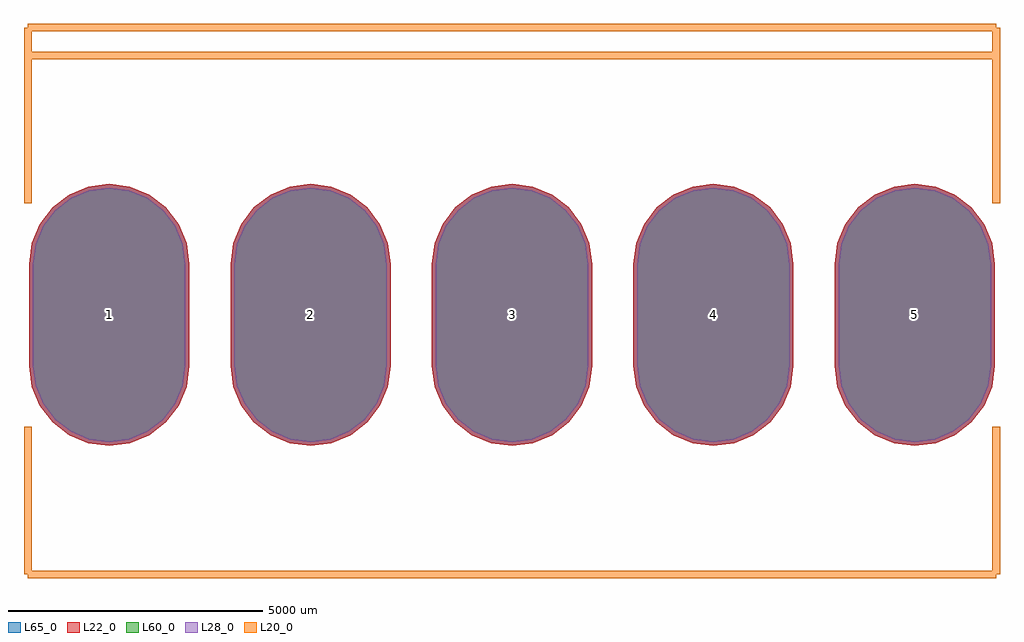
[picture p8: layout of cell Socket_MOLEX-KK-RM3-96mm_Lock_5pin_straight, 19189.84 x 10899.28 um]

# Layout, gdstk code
import gdstk
lib = gdstk.Library(unit=1e-6, precision=1e-09)
def P(c, l, *ps):  # polygons
    for p in ps: c.add(gdstk.Polygon(p, *l))
L20_0 = (20, 0)
L22_0 = (22, 0)
L28_0 = (28, 0)
L60_0 = (60, 0)
L65_0 = (65, 0)

socket_molex_kk_rm3_96mm = lib.new_cell('Socket_MOLEX-KK-RM3-96mm_Lock_5pin_straight')
P(socket_molex_kk_rm3_96mm, L22_0, [(-7919.72,-2575.63),(-7512.114,-2521.968),(-7132.285,-2364.637),(-6806.119,-2114.361),(-6555.843,-1788.195),(-6398.512,-1408.366),(-6344.85,-1000.76),(-6344.85,1000.76),(-6398.512,1408.366),(-6555.843,1788.195),(-6806.119,2114.361),(-7132.285,2364.637),(-7512.114,2521.968),(-7919.72,2575.63),(-8327.326,2521.968),(-8707.155,2364.637),(-9033.321,2114.361),(-9283.597,1788.195),(-9440.928,1408.366),(-9494.59,1000.76),(-9494.59,-1000.76),(-9440.928,-1408.366),(-9283.597,-1788.195),(-9033.321,-2114.361),(-8707.155,-2364.637),(-8327.326,-2521.968)],
  [(7919.72,-2575.63),(8327.326,-2521.968),(8707.155,-2364.637),(9033.321,-2114.361),(9283.597,-1788.195),(9440.928,-1408.366),(9494.59,-1000.76),(9494.59,1000.76),(9440.928,1408.366),(9283.597,1788.195),(9033.321,2114.361),(8707.155,2364.637),(8327.326,2521.968),(7919.72,2575.63),(7512.114,2521.968),(7132.285,2364.637),(6806.119,2114.361),(6555.843,1788.195),(6398.512,1408.366),(6344.85,1000.76),(6344.85,-1000.76),(6398.512,-1408.366),(6555.843,-1788.195),(6806.119,-2114.361),(7132.285,-2364.637),(7512.114,-2521.968)],
  [(3959.86,-2575.63),(4367.466,-2521.968),(4747.295,-2364.637),(5073.461,-2114.361),(5323.737,-1788.195),(5481.068,-1408.366),(5534.73,-1000.76),(5534.73,1000.76),(5481.068,1408.366),(5323.737,1788.195),(5073.461,2114.361),(4747.295,2364.637),(4367.466,2521.968),(3959.86,2575.63),(3552.254,2521.968),(3172.425,2364.637),(2846.259,2114.361),(2595.983,1788.195),(2438.652,1408.366),(2384.99,1000.76),(2384.99,-1000.76),(2438.652,-1408.366),(2595.983,-1788.195),(2846.259,-2114.361),(3172.425,-2364.637),(3552.254,-2521.968)],
  [(0,-2575.63),(407.606,-2521.968),(787.435,-2364.637),(1113.601,-2114.361),(1363.877,-1788.195),(1521.208,-1408.366),(1574.87,-1000.76),(1574.87,1000.76),(1521.208,1408.366),(1363.877,1788.195),(1113.601,2114.361),(787.435,2364.637),(407.606,2521.968),(0,2575.63),(-407.606,2521.968),(-787.435,2364.637),(-1113.601,2114.361),(-1363.877,1788.195),(-1521.208,1408.366),(-1574.87,1000.76),(-1574.87,-1000.76),(-1521.208,-1408.366),(-1363.877,-1788.195),(-1113.601,-2114.361),(-787.435,-2364.637),(-407.606,-2521.968)],
  [(-3959.86,-2575.63),(-3552.254,-2521.968),(-3172.425,-2364.637),(-2846.259,-2114.361),(-2595.983,-1788.195),(-2438.652,-1408.366),(-2384.99,-1000.76),(-2384.99,1000.76),(-2438.652,1408.366),(-2595.983,1788.195),(-2846.259,2114.361),(-3172.425,2364.637),(-3552.254,2521.968),(-3959.86,2575.63),(-4367.466,2521.968),(-4747.295,2364.637),(-5073.461,2114.361),(-5323.737,1788.195),(-5481.068,1408.366),(-5534.73,1000.76),(-5534.73,-1000.76),(-5481.068,-1408.366),(-5323.737,-1788.195),(-5073.461,-2114.361),(-4747.295,-2364.637),(-4367.466,-2521.968)])
P(socket_molex_kk_rm3_96mm, L28_0, [(-7919.72,-2500.63),(-7531.525,-2449.523),(-7169.785,-2299.686),(-6859.152,-2061.328),(-6620.794,-1750.695),(-6470.957,-1388.955),(-6419.85,-1000.76),(-6419.85,1000.76),(-6470.957,1388.955),(-6620.794,1750.695),(-6859.152,2061.328),(-7169.785,2299.686),(-7531.525,2449.523),(-7919.72,2500.63),(-8307.915,2449.523),(-8669.655,2299.686),(-8980.288,2061.328),(-9218.646,1750.695),(-9368.483,1388.955),(-9419.59,1000.76),(-9419.59,-1000.76),(-9368.483,-1388.955),(-9218.646,-1750.695),(-8980.288,-2061.328),(-8669.655,-2299.686),(-8307.915,-2449.523)],
  [(7919.72,-2500.63),(8307.915,-2449.523),(8669.655,-2299.686),(8980.288,-2061.328),(9218.646,-1750.695),(9368.483,-1388.955),(9419.59,-1000.76),(9419.59,1000.76),(9368.483,1388.955),(9218.646,1750.695),(8980.288,2061.328),(8669.655,2299.686),(8307.915,2449.523),(7919.72,2500.63),(7531.525,2449.523),(7169.785,2299.686),(6859.152,2061.328),(6620.794,1750.695),(6470.957,1388.955),(6419.85,1000.76),(6419.85,-1000.76),(6470.957,-1388.955),(6620.794,-1750.695),(6859.152,-2061.328),(7169.785,-2299.686),(7531.525,-2449.523)],
  [(3959.86,-2500.63),(4348.055,-2449.523),(4709.795,-2299.686),(5020.428,-2061.328),(5258.786,-1750.695),(5408.623,-1388.955),(5459.73,-1000.76),(5459.73,1000.76),(5408.623,1388.955),(5258.786,1750.695),(5020.428,2061.328),(4709.795,2299.686),(4348.055,2449.523),(3959.86,2500.63),(3571.665,2449.523),(3209.925,2299.686),(2899.292,2061.328),(2660.934,1750.695),(2511.097,1388.955),(2459.99,1000.76),(2459.99,-1000.76),(2511.097,-1388.955),(2660.934,-1750.695),(2899.292,-2061.328),(3209.925,-2299.686),(3571.665,-2449.523)],
  [(0,-2500.63),(388.195,-2449.523),(749.935,-2299.686),(1060.568,-2061.328),(1298.926,-1750.695),(1448.763,-1388.955),(1499.87,-1000.76),(1499.87,1000.76),(1448.763,1388.955),(1298.926,1750.695),(1060.568,2061.328),(749.935,2299.686),(388.195,2449.523),(0,2500.63),(-388.195,2449.523),(-749.935,2299.686),(-1060.568,2061.328),(-1298.926,1750.695),(-1448.763,1388.955),(-1499.87,1000.76),(-1499.87,-1000.76),(-1448.763,-1388.955),(-1298.926,-1750.695),(-1060.568,-2061.328),(-749.935,-2299.686),(-388.195,-2449.523)],
  [(-3959.86,-2500.63),(-3571.665,-2449.523),(-3209.925,-2299.686),(-2899.292,-2061.328),(-2660.934,-1750.695),(-2511.097,-1388.955),(-2459.99,-1000.76),(-2459.99,1000.76),(-2511.097,1388.955),(-2660.934,1750.695),(-2899.292,2061.328),(-3209.925,2299.686),(-3571.665,2449.523),(-3959.86,2500.63),(-4348.055,2449.523),(-4709.795,2299.686),(-5020.428,2061.328),(-5258.786,1750.695),(-5408.623,1388.955),(-5459.73,1000.76),(-5459.73,-1000.76),(-5408.623,-1388.955),(-5258.786,-1750.695),(-5020.428,-2061.328),(-4709.795,-2299.686),(-4348.055,-2449.523)])
P(socket_molex_kk_rm3_96mm, L60_0, [(-7919.72,-2500.63),(-7531.525,-2449.523),(-7169.785,-2299.686),(-6859.152,-2061.328),(-6620.794,-1750.695),(-6470.957,-1388.955),(-6419.85,-1000.76),(-6419.85,1000.76),(-6470.957,1388.955),(-6620.794,1750.695),(-6859.152,2061.328),(-7169.785,2299.686),(-7531.525,2449.523),(-7919.72,2500.63),(-8307.915,2449.523),(-8669.655,2299.686),(-8980.288,2061.328),(-9218.646,1750.695),(-9368.483,1388.955),(-9419.59,1000.76),(-9419.59,-1000.76),(-9368.483,-1388.955),(-9218.646,-1750.695),(-8980.288,-2061.328),(-8669.655,-2299.686),(-8307.915,-2449.523)],
  [(7919.72,-2500.63),(8307.915,-2449.523),(8669.655,-2299.686),(8980.288,-2061.328),(9218.646,-1750.695),(9368.483,-1388.955),(9419.59,-1000.76),(9419.59,1000.76),(9368.483,1388.955),(9218.646,1750.695),(8980.288,2061.328),(8669.655,2299.686),(8307.915,2449.523),(7919.72,2500.63),(7531.525,2449.523),(7169.785,2299.686),(6859.152,2061.328),(6620.794,1750.695),(6470.957,1388.955),(6419.85,1000.76),(6419.85,-1000.76),(6470.957,-1388.955),(6620.794,-1750.695),(6859.152,-2061.328),(7169.785,-2299.686),(7531.525,-2449.523)],
  [(3959.86,-2500.63),(4348.055,-2449.523),(4709.795,-2299.686),(5020.428,-2061.328),(5258.786,-1750.695),(5408.623,-1388.955),(5459.73,-1000.76),(5459.73,1000.76),(5408.623,1388.955),(5258.786,1750.695),(5020.428,2061.328),(4709.795,2299.686),(4348.055,2449.523),(3959.86,2500.63),(3571.665,2449.523),(3209.925,2299.686),(2899.292,2061.328),(2660.934,1750.695),(2511.097,1388.955),(2459.99,1000.76),(2459.99,-1000.76),(2511.097,-1388.955),(2660.934,-1750.695),(2899.292,-2061.328),(3209.925,-2299.686),(3571.665,-2449.523)],
  [(0,-2500.63),(388.195,-2449.523),(749.935,-2299.686),(1060.568,-2061.328),(1298.926,-1750.695),(1448.763,-1388.955),(1499.87,-1000.76),(1499.87,1000.76),(1448.763,1388.955),(1298.926,1750.695),(1060.568,2061.328),(749.935,2299.686),(388.195,2449.523),(0,2500.63),(-388.195,2449.523),(-749.935,2299.686),(-1060.568,2061.328),(-1298.926,1750.695),(-1448.763,1388.955),(-1499.87,1000.76),(-1499.87,-1000.76),(-1448.763,-1388.955),(-1298.926,-1750.695),(-1060.568,-2061.328),(-749.935,-2299.686),(-388.195,-2449.523)],
  [(-3959.86,-2500.63),(-3571.665,-2449.523),(-3209.925,-2299.686),(-2899.292,-2061.328),(-2660.934,-1750.695),(-2511.097,-1388.955),(-2459.99,-1000.76),(-2459.99,1000.76),(-2511.097,1388.955),(-2660.934,1750.695),(-2899.292,2061.328),(-3209.925,2299.686),(-3571.665,2449.523),(-3959.86,2500.63),(-4348.055,2449.523),(-4709.795,2299.686),(-5020.428,2061.328),(-5258.786,1750.695),(-5408.623,1388.955),(-5459.73,1000.76),(-5459.73,-1000.76),(-5408.623,-1388.955),(-5258.786,-1750.695),(-5020.428,-2061.328),(-4709.795,-2299.686),(-4348.055,-2449.523)])
P(socket_molex_kk_rm3_96mm, L65_0, [(-7919.72,-2575.63),(-7512.114,-2521.968),(-7132.285,-2364.637),(-6806.119,-2114.361),(-6555.843,-1788.195),(-6398.512,-1408.366),(-6344.85,-1000.76),(-6344.85,1000.76),(-6398.512,1408.366),(-6555.843,1788.195),(-6806.119,2114.361),(-7132.285,2364.637),(-7512.114,2521.968),(-7919.72,2575.63),(-8327.326,2521.968),(-8707.155,2364.637),(-9033.321,2114.361),(-9283.597,1788.195),(-9440.928,1408.366),(-9494.59,1000.76),(-9494.59,-1000.76),(-9440.928,-1408.366),(-9283.597,-1788.195),(-9033.321,-2114.361),(-8707.155,-2364.637),(-8327.326,-2521.968)],
  [(7919.72,-2575.63),(8327.326,-2521.968),(8707.155,-2364.637),(9033.321,-2114.361),(9283.597,-1788.195),(9440.928,-1408.366),(9494.59,-1000.76),(9494.59,1000.76),(9440.928,1408.366),(9283.597,1788.195),(9033.321,2114.361),(8707.155,2364.637),(8327.326,2521.968),(7919.72,2575.63),(7512.114,2521.968),(7132.285,2364.637),(6806.119,2114.361),(6555.843,1788.195),(6398.512,1408.366),(6344.85,1000.76),(6344.85,-1000.76),(6398.512,-1408.366),(6555.843,-1788.195),(6806.119,-2114.361),(7132.285,-2364.637),(7512.114,-2521.968)],
  [(3959.86,-2575.63),(4367.466,-2521.968),(4747.295,-2364.637),(5073.461,-2114.361),(5323.737,-1788.195),(5481.068,-1408.366),(5534.73,-1000.76),(5534.73,1000.76),(5481.068,1408.366),(5323.737,1788.195),(5073.461,2114.361),(4747.295,2364.637),(4367.466,2521.968),(3959.86,2575.63),(3552.254,2521.968),(3172.425,2364.637),(2846.259,2114.361),(2595.983,1788.195),(2438.652,1408.366),(2384.99,1000.76),(2384.99,-1000.76),(2438.652,-1408.366),(2595.983,-1788.195),(2846.259,-2114.361),(3172.425,-2364.637),(3552.254,-2521.968)],
  [(0,-2575.63),(407.606,-2521.968),(787.435,-2364.637),(1113.601,-2114.361),(1363.877,-1788.195),(1521.208,-1408.366),(1574.87,-1000.76),(1574.87,1000.76),(1521.208,1408.366),(1363.877,1788.195),(1113.601,2114.361),(787.435,2364.637),(407.606,2521.968),(0,2575.63),(-407.606,2521.968),(-787.435,2364.637),(-1113.601,2114.361),(-1363.877,1788.195),(-1521.208,1408.366),(-1574.87,1000.76),(-1574.87,-1000.76),(-1521.208,-1408.366),(-1363.877,-1788.195),(-1113.601,-2114.361),(-787.435,-2364.637),(-407.606,-2521.968)],
  [(-3959.86,-2575.63),(-3552.254,-2521.968),(-3172.425,-2364.637),(-2846.259,-2114.361),(-2595.983,-1788.195),(-2438.652,-1408.366),(-2384.99,-1000.76),(-2384.99,1000.76),(-2438.652,1408.366),(-2595.983,1788.195),(-2846.259,2114.361),(-3172.425,2364.637),(-3552.254,2521.968),(-3959.86,2575.63),(-4367.466,2521.968),(-4747.295,2364.637),(-5073.461,2114.361),(-5323.737,1788.195),(-5481.068,1408.366),(-5534.73,1000.76),(-5534.73,-1000.76),(-5481.068,-1408.366),(-5323.737,-1788.195),(-5073.461,-2114.361),(-4747.295,-2364.637),(-4367.466,-2521.968)])
socket_molex_kk_rm3_96mm.add(gdstk.FlexPath([(9519.92,-5100.32),(9519.92,-2199.64)], 149.998, ends="flush", simple_path=True, layer=20, datatype=0))  # L20_0
socket_molex_kk_rm3_96mm.add(gdstk.FlexPath([(0,-5100.32),(9519.92,-5100.32)], 149.998, ends="flush", simple_path=True, layer=20, datatype=0))  # L20_0
socket_molex_kk_rm3_96mm.add(gdstk.FlexPath([(-9519.92,5100.32),(-9519.92,2199.64)], 149.998, ends="flush", simple_path=True, layer=20, datatype=0))  # L20_0
socket_molex_kk_rm3_96mm.add(gdstk.FlexPath([(9519.92,5100.32),(-9519.92,5100.32)], 149.998, ends="flush", simple_path=True, layer=20, datatype=0))  # L20_0
socket_molex_kk_rm3_96mm.add(gdstk.FlexPath([(9519.92,2199.64),(9519.92,5100.32)], 149.998, ends="flush", simple_path=True, layer=20, datatype=0))  # L20_0
socket_molex_kk_rm3_96mm.add(gdstk.FlexPath([(-9519.92,-5100.32),(0,-5100.32)], 149.998, ends="flush", simple_path=True, layer=20, datatype=0))  # L20_0
socket_molex_kk_rm3_96mm.add(gdstk.FlexPath([(-9519.92,-2199.64),(-9519.92,-5100.32)], 149.998, ends="flush", simple_path=True, layer=20, datatype=0))  # L20_0
socket_molex_kk_rm3_96mm.add(gdstk.FlexPath([(-9519.92,5648.96),(-9519.92,5100.32)], 149.998, ends="flush", simple_path=True, layer=20, datatype=0))  # L20_0
socket_molex_kk_rm3_96mm.add(gdstk.FlexPath([(9519.92,5648.96),(-9519.92,5648.96)], 149.998, ends="flush", simple_path=True, layer=20, datatype=0))  # L20_0
socket_molex_kk_rm3_96mm.add(gdstk.FlexPath([(9519.92,5499.1),(9519.92,5648.96)], 149.998, ends="flush", simple_path=True, layer=20, datatype=0))  # L20_0
socket_molex_kk_rm3_96mm.add(gdstk.FlexPath([(9519.92,5100.32),(9519.92,5499.1)], 149.998, ends="flush", simple_path=True, layer=20, datatype=0))  # L20_0
socket_molex_kk_rm3_96mm.add(gdstk.Label('1', (-7919.72,0), layer=28, texttype=0))
socket_molex_kk_rm3_96mm.add(gdstk.Label('5', (7919.72,0), layer=28, texttype=0))
socket_molex_kk_rm3_96mm.add(gdstk.Label('4', (3959.86,0), layer=28, texttype=0))
socket_molex_kk_rm3_96mm.add(gdstk.Label('3', (0,0), layer=28, texttype=0))
socket_molex_kk_rm3_96mm.add(gdstk.Label('2', (-3959.86,0), layer=28, texttype=0))
socket_molex_kk_rm3_96mm.add(gdstk.Label('type', (0,-7620), layer=9, texttype=0))
socket_molex_kk_rm3_96mm.add(gdstk.Label('devicename', (0,7620), layer=9, texttype=0))

lib.write_gds('Socket_MOLEX-KK-RM3-96mm_Lock_5pin_straight.gds')
